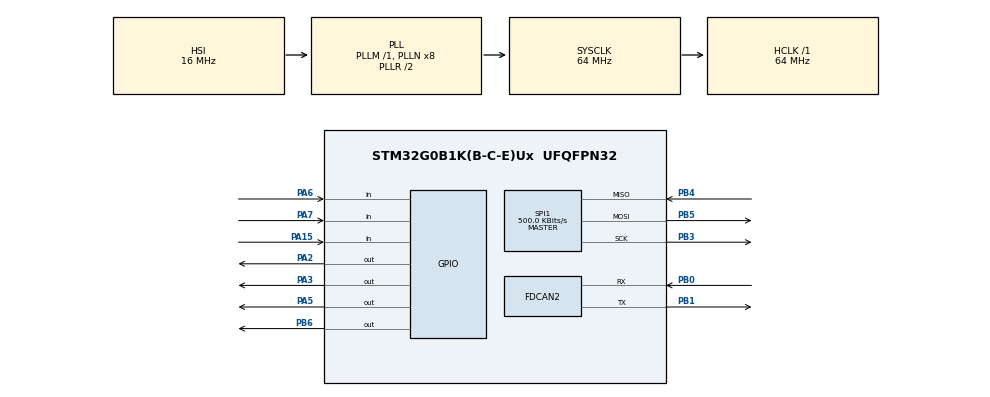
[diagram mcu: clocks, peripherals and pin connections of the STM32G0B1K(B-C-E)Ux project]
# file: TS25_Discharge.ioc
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FDCAN2.AutoRetransmission=ENABLE
FDCAN2.CalculateBaudRateNominal=500000
FDCAN2.CalculateTimeBitNominal=2000
FDCAN2.CalculateTimeQuantumNominal=125.0
FDCAN2.NominalPrescaler=4
FDCAN2.NominalTimeSeg1=11
FDCAN2.NominalTimeSeg2=4
Mcu.Family=STM32G0
Mcu.Name=STM32G0B1K(B-C-E)Ux
Mcu.Package=UFQFPN32
NVIC.TIM2_IRQn=true\:0\:0\:false\:false\:true\:true\:true\:true
PA13.Mode=Serial_Wire
PA13.Signal=SYS_SWDIO
PA14-BOOT0.Mode=Serial_Wire
PA14-BOOT0.Signal=SYS_SWCLK
PA15.Signal=GPIO_Input
PA2.Signal=GPIO_Output
PA3.Signal=GPIO_Output
PA5.Signal=GPIO_Output
PA6.Signal=GPIO_Input
PA7.Signal=GPIO_Input
PB0.Mode=FDCAN_Activate
PB0.Signal=FDCAN2_RX
PB1.Mode=FDCAN_Activate
PB1.Signal=FDCAN2_TX
PB3.GPIO_Speed=GPIO_SPEED_FREQ_HIGH
PB3.Mode=Full_Duplex_Master
PB3.Signal=SPI1_SCK
PB4.GPIO_PuPd=GPIO_PULLDOWN
PB4.Mode=Full_Duplex_Master
PB4.PinState=GPIO_PIN_RESET
PB4.Signal=SPI1_MISO
PB5.GPIO_Speed=GPIO_SPEED_FREQ_HIGH
PB5.Mode=Full_Duplex_Master
PB5.Signal=SPI1_MOSI
PB6.Signal=GPIO_Output
ProjectManager.HeapSize=0x200
ProjectManager.StackSize=0x400
ProjectManager.TargetToolchain=STM32CubeIDE
RCC.ADCFreq_Value=64000000
RCC.AHBFreq_Value=64000000
RCC.APB1CLKDivider=RCC_HCLK_DIV2
RCC.CortexFreq_Value=64000000
RCC.EXTERNAL_CLOCK_VALUE=48000
RCC.HCLKFreq_Value=64000000
RCC.HSE_VALUE=8000000
RCC.HSI48_VALUE=48000000
RCC.HSI_VALUE=16000000
RCC.LSE_VALUE=32768
RCC.SYSCLKFreq_VALUE=64000000
RCC.SYSCLKSource=RCC_SYSCLKSOURCE_PLLCLK
RCC.USBFreq_Value=48000000
RCC.VCOOutputFreq_Value=128000000
SPI1.BaudRatePrescaler=SPI_BAUDRATEPRESCALER_64
SPI1.CalculateBaudRate=500.0 KBits/s
SPI1.DataSize=SPI_DATASIZE_8BIT
SPI1.Direction=SPI_DIRECTION_2LINES
SPI1.Mode=SPI_MODE_MASTER
SPI1.NSSPMode=SPI_NSS_PULSE_DISABLE
SPI1.VirtualType=VM_MASTER
TIM2.Period=63999
VP_SYS_VS_DBSignals.Mode=DisableDeadBatterySignals
VP_TIM2_VS_ClockSourceINT.Mode=Internal
board=custom

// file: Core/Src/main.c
/* USER CODE BEGIN Header */
/**
  ******************************************************************************
  * @file           : main.c
  * @brief          : Main program body
  ******************************************************************************
  * @attention
  *
  * Copyright (c) 2025 STMicroelectronics.
  * All rights reserved.
  *
  * This software is licensed under terms that can be found in the LICENSE file
  * in the root directory of this software component.
  * If no LICENSE file comes with this software, it is provided AS-IS.
  *
  ******************************************************************************
  */
/* USER CODE END Header */
#include "main.h"

/* USER CODE BEGIN Includes */
#include "Discharge.h"
/* USER CODE END Includes */

FDCAN_HandleTypeDef hfdcan2;

SPI_HandleTypeDef hspi1;

TIM_HandleTypeDef htim2;

void SystemClock_Config(void);
static void MX_GPIO_Init(void);
static void MX_FDCAN2_Init(void);
static void MX_SPI1_Init(void);
static void MX_TIM2_Init(void);

int main(void)
{

  /* MCU Configuration--------------------------------------------------------*/

  /* Reset of all peripherals, Initializes the Flash interface and the Systick. */
  HAL_Init();

  /* Configure the system clock */
  SystemClock_Config();

  /* USER CODE BEGIN SysInit */
  HAL_FDCAN_MspInit(&hfdcan2);
  HAL_SPI_MspInit(&hspi1);
  /* USER CODE END SysInit */

  /* Initialize all configured peripherals */
  MX_GPIO_Init();
  MX_FDCAN2_Init();
  MX_SPI1_Init();
  MX_TIM2_Init();
  /* USER CODE BEGIN 2 */
  canFramesDefine();
    ioAssign();
    initialiseADC();
    HAL_GPIO_WritePin(GPIOA, GPIO_PIN_5, GPIO_PIN_RESET); //LED on (default)

    TickerAttach(&Ticker, &TransmitHeartBeat, DISCHARGE_HEARTBEAT_CAN_RATE);
    TickerAttach(&Ticker, &TransmitDigital, DISCHARGE_DIGITAL_CAN_RATE);
    TickerAttach(&Ticker, &TransmitAnalogue, DISCHARGE_ANALOGUE_CAN_RATE);
    TickerAttach(&Ticker, &TransmitAnalogueRaw, DISCHARGE_ANALOGUE_CAN_RATE);

    HAL_FDCAN_Start(&hfdcan2);

    HAL_TIM_Base_Start_IT(&htim2);
  /* USER CODE END 2 */

  /* Infinite loop */
  /* USER CODE BEGIN WHILE */
  while (1)
  {
	  UpdateDigital();
	  UpdateAnalogue();
    /* USER CODE END WHILE */

  }
}

void SystemClock_Config(void)
{
  RCC_OscInitTypeDef RCC_OscInitStruct = {0};
  RCC_ClkInitTypeDef RCC_ClkInitStruct = {0};

  /** Configure the main internal regulator output voltage
  */
  HAL_PWREx_ControlVoltageScaling(PWR_REGULATOR_VOLTAGE_SCALE1);

  /** Initializes the RCC Oscillators according to the specified parameters
  * in the RCC_OscInitTypeDef structure.
  */
  RCC_OscInitStruct.OscillatorType = RCC_OSCILLATORTYPE_HSI;
  RCC_OscInitStruct.HSIState = RCC_HSI_ON;
  RCC_OscInitStruct.HSIDiv = RCC_HSI_DIV1;
  RCC_OscInitStruct.HSICalibrationValue = RCC_HSICALIBRATION_DEFAULT;
  RCC_OscInitStruct.PLL.PLLState = RCC_PLL_ON;
  RCC_OscInitStruct.PLL.PLLSource = RCC_PLLSOURCE_HSI;
  RCC_OscInitStruct.PLL.PLLM = RCC_PLLM_DIV1;
  RCC_OscInitStruct.PLL.PLLN = 8;
  RCC_OscInitStruct.PLL.PLLP = RCC_PLLP_DIV2;
  RCC_OscInitStruct.PLL.PLLQ = RCC_PLLQ_DIV2;
  RCC_OscInitStruct.PLL.PLLR = RCC_PLLR_DIV2;
  if (HAL_RCC_OscConfig(&RCC_OscInitStruct) != HAL_OK)
  {
    Error_Handler();
  }

  /** Initializes the CPU, AHB and APB buses clocks
  */
  RCC_ClkInitStruct.ClockType = RCC_CLOCKTYPE_HCLK|RCC_CLOCKTYPE_SYSCLK
                              |RCC_CLOCKTYPE_PCLK1;
  RCC_ClkInitStruct.SYSCLKSource = RCC_SYSCLKSOURCE_PLLCLK;
  RCC_ClkInitStruct.AHBCLKDivider = RCC_SYSCLK_DIV1;
  RCC_ClkInitStruct.APB1CLKDivider = RCC_HCLK_DIV2;

  if (HAL_RCC_ClockConfig(&RCC_ClkInitStruct, FLASH_LATENCY_2) != HAL_OK)
  {
    Error_Handler();
  }
}

static void MX_FDCAN2_Init(void)
{

  hfdcan2.Instance = FDCAN2;
  hfdcan2.Init.ClockDivider = FDCAN_CLOCK_DIV1;
  hfdcan2.Init.FrameFormat = FDCAN_FRAME_CLASSIC;
  hfdcan2.Init.Mode = FDCAN_MODE_NORMAL;
  hfdcan2.Init.AutoRetransmission = ENABLE;
  hfdcan2.Init.TransmitPause = DISABLE;
  hfdcan2.Init.ProtocolException = DISABLE;
  hfdcan2.Init.NominalPrescaler = 4;
  hfdcan2.Init.NominalSyncJumpWidth = 1;
  hfdcan2.Init.NominalTimeSeg1 = 11;
  hfdcan2.Init.NominalTimeSeg2 = 4;
  hfdcan2.Init.DataPrescaler = 1;
  hfdcan2.Init.DataSyncJumpWidth = 1;
  hfdcan2.Init.DataTimeSeg1 = 1;
  hfdcan2.Init.DataTimeSeg2 = 1;
  hfdcan2.Init.StdFiltersNbr = 0;
  hfdcan2.Init.ExtFiltersNbr = 0;
  hfdcan2.Init.TxFifoQueueMode = FDCAN_TX_FIFO_OPERATION;
  if (HAL_FDCAN_Init(&hfdcan2) != HAL_OK)
  {
    Error_Handler();
  }

}

static void MX_SPI1_Init(void)
{

  /* SPI1 parameter configuration*/
  hspi1.Instance = SPI1;
  hspi1.Init.Mode = SPI_MODE_MASTER;
  hspi1.Init.Direction = SPI_DIRECTION_2LINES;
  hspi1.Init.DataSize = SPI_DATASIZE_8BIT;
  hspi1.Init.CLKPolarity = SPI_POLARITY_LOW;
  hspi1.Init.CLKPhase = SPI_PHASE_1EDGE;
  hspi1.Init.NSS = SPI_NSS_SOFT;
  hspi1.Init.BaudRatePrescaler = SPI_BAUDRATEPRESCALER_64;
  hspi1.Init.FirstBit = SPI_FIRSTBIT_MSB;
  hspi1.Init.TIMode = SPI_TIMODE_DISABLE;
  hspi1.Init.CRCCalculation = SPI_CRCCALCULATION_DISABLE;
  hspi1.Init.CRCPolynomial = 7;
  hspi1.Init.CRCLength = SPI_CRC_LENGTH_DATASIZE;
  hspi1.Init.NSSPMode = SPI_NSS_PULSE_DISABLE;
  if (HAL_SPI_Init(&hspi1) != HAL_OK)
  {
    Error_Handler();
  }

}

static void MX_TIM2_Init(void)
{

  TIM_ClockConfigTypeDef sClockSourceConfig = {0};
  TIM_MasterConfigTypeDef sMasterConfig = {0};

  htim2.Instance = TIM2;
  htim2.Init.Prescaler = 0;
  htim2.Init.CounterMode = TIM_COUNTERMODE_UP;
  htim2.Init.Period = 63999;
  htim2.Init.ClockDivision = TIM_CLOCKDIVISION_DIV1;
  htim2.Init.AutoReloadPreload = TIM_AUTORELOAD_PRELOAD_DISABLE;
  if (HAL_TIM_Base_Init(&htim2) != HAL_OK)
  {
    Error_Handler();
  }
  sClockSourceConfig.ClockSource = TIM_CLOCKSOURCE_INTERNAL;
  if (HAL_TIM_ConfigClockSource(&htim2, &sClockSourceConfig) != HAL_OK)
  {
    Error_Handler();
  }
  sMasterConfig.MasterOutputTrigger = TIM_TRGO_RESET;
  sMasterConfig.MasterSlaveMode = TIM_MASTERSLAVEMODE_DISABLE;
  if (HAL_TIMEx_MasterConfigSynchronization(&htim2, &sMasterConfig) != HAL_OK)
  {
    Error_Handler();
  }

}

static void MX_GPIO_Init(void)
{
  GPIO_InitTypeDef GPIO_InitStruct = {0};

  /* GPIO Ports Clock Enable */
  __HAL_RCC_GPIOA_CLK_ENABLE();
  __HAL_RCC_GPIOB_CLK_ENABLE();

  /*Configure GPIO pin Output Level */
  HAL_GPIO_WritePin(GPIOA, GPIO_PIN_2|GPIO_PIN_3|GPIO_PIN_5, GPIO_PIN_RESET);

  /*Configure GPIO pin Output Level */
  HAL_GPIO_WritePin(GPIOB, GPIO_PIN_6, GPIO_PIN_RESET);

  /*Configure GPIO pins : PA2 PA3 PA5 */
  GPIO_InitStruct.Pin = GPIO_PIN_2|GPIO_PIN_3|GPIO_PIN_5;
  GPIO_InitStruct.Mode = GPIO_MODE_OUTPUT_PP;
  GPIO_InitStruct.Pull = GPIO_NOPULL;
  GPIO_InitStruct.Speed = GPIO_SPEED_FREQ_LOW;
  HAL_GPIO_Init(GPIOA, &GPIO_InitStruct);

  /*Configure GPIO pins : PA6 PA7 PA15 */
  GPIO_InitStruct.Pin = GPIO_PIN_6|GPIO_PIN_7|GPIO_PIN_15;
  GPIO_InitStruct.Mode = GPIO_MODE_INPUT;
  GPIO_InitStruct.Pull = GPIO_NOPULL;
  HAL_GPIO_Init(GPIOA, &GPIO_InitStruct);

  /*Configure GPIO pin : PB6 */
  GPIO_InitStruct.Pin = GPIO_PIN_6;
  GPIO_InitStruct.Mode = GPIO_MODE_OUTPUT_PP;
  GPIO_InitStruct.Pull = GPIO_NOPULL;
  GPIO_InitStruct.Speed = GPIO_SPEED_FREQ_LOW;
  HAL_GPIO_Init(GPIOB, &GPIO_InitStruct);

}

/* USER CODE BEGIN 4 */
void HAL_TIM_PeriodElapsedCallback(TIM_HandleTypeDef* htim)
{
	if(htim->Instance == TIM2)
	{
		TickerHandler(&Ticker);
	}
}
/* USER CODE END 4 */

void Error_Handler(void)
{
  __disable_irq();
  while (1)
  {
  }
}
